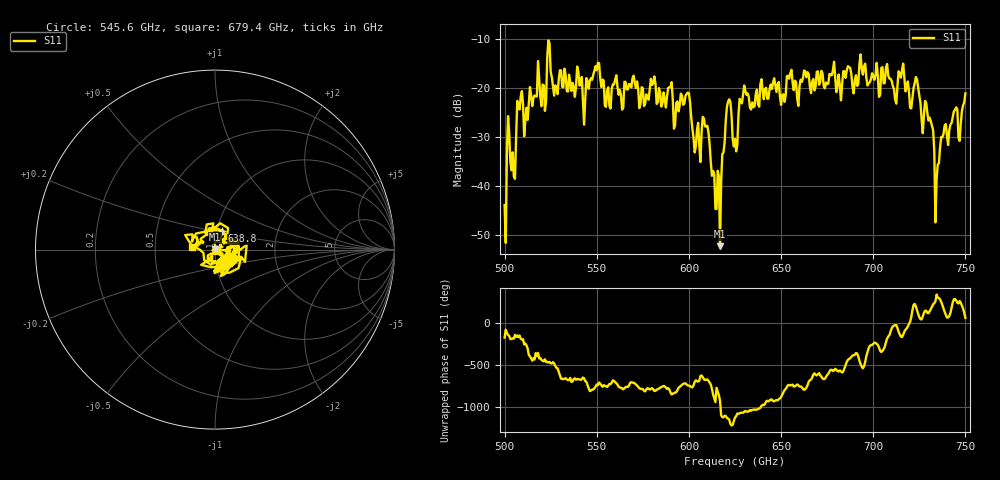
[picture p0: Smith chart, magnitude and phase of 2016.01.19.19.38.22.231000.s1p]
!Created with skrf (http://scikit-rf.org).
# GHz S RI R 50.0
!freq ReS11 ImS11
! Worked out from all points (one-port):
!   401 points, 500 GHz to 750 GHz, reference 50 ohm
!   lowest |S11| = -52.3 dB at 616.9 GHz (marker M1), VSWR 1.00, Z = 49.8 + j0.103 ohm
!   |S11| at or under -10 dB: start of sweep to end of sweep
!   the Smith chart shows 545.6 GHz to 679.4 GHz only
!   S11 on the Smith chart (normalised r, x): 545.6 GHz: 1.08, -0.19; 638.8 GHz: 1.06, +0.22; 679.4 GHz: 0.78, +0.02
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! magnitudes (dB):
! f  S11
! 500 GHz  -43.9
! 502.5 GHz  -29.3
! 504.4 GHz  -33.2
! 508.1 GHz  -24.4
! 521.2 GHz  -19.5
! 524.4 GHz  -10.9
! 527.5 GHz  -19.5
! 531.2 GHz  -19.8
! 545.6 GHz  -20.2
! 562.5 GHz  -20.4
! 593.8 GHz  -22.8
! 599.4 GHz  -21.0
! 605 GHz  -27.1
! 608.8 GHz  -27.8
! 613.8 GHz  -37.6
! 616.9 GHz  -52.3
! 621.2 GHz  -22.8
! 625 GHz  -30.4
! 628.8 GHz  -23.2
! 638.8 GHz  -19.3
! 656.2 GHz  -18.9
! 679.4 GHz  -17.9
! 687.5 GHz  -15.9
! 718.8 GHz  -18.7
! 729.4 GHz  -25.2
! 734.4 GHz  -38.7
! 738.1 GHz  -29.4
! 750 GHz  -21.1
